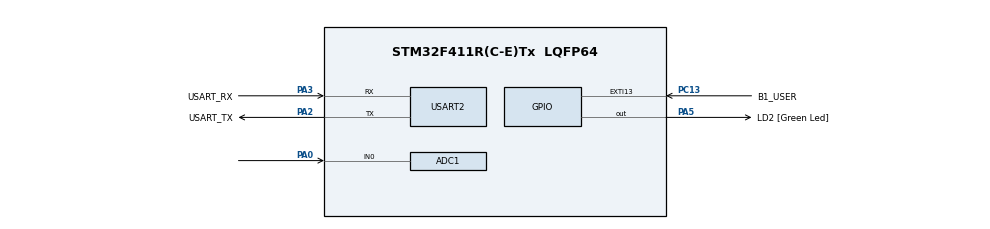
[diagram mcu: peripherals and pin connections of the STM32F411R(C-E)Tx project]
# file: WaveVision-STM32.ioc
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ADC1.Channel-0\#ChannelRegularConversion=ADC_CHANNEL_0
ADC1.ContinuousConvMode=DISABLE
ADC1.DMAContinuousRequests=ENABLE
ADC1.ExternalTrigConv=ADC_EXTERNALTRIGCONV_T2_TRGO
ADC1.NbrOfConversionFlag=1
ADC1.Rank-0\#ChannelRegularConversion=1
ADC1.SamplingTime-0\#ChannelRegularConversion=ADC_SAMPLETIME_3CYCLES
ADC1.master=1
Dma.ADC1.0.Direction=DMA_PERIPH_TO_MEMORY
Dma.ADC1.0.FIFOMode=DMA_FIFOMODE_DISABLE
Dma.ADC1.0.Instance=DMA2_Stream0
Dma.ADC1.0.MemDataAlignment=DMA_MDATAALIGN_HALFWORD
Dma.ADC1.0.MemInc=DMA_MINC_ENABLE
Dma.ADC1.0.Mode=DMA_CIRCULAR
Dma.ADC1.0.PeriphDataAlignment=DMA_PDATAALIGN_HALFWORD
Dma.ADC1.0.PeriphInc=DMA_PINC_DISABLE
Dma.ADC1.0.Priority=DMA_PRIORITY_LOW
Dma.Request0=ADC1
Mcu.Family=STM32F4
Mcu.Name=STM32F411R(C-E)Tx
Mcu.Package=LQFP64
NVIC.DMA2_Stream0_IRQn=true\:0\:0\:false\:false\:true\:false\:true\:true
NVIC.EXTI15_10_IRQn=true\:0\:0\:false\:false\:true\:true\:true\:true
NVIC.PriorityGroup=NVIC_PRIORITYGROUP_0
NVIC.TIM2_IRQn=true\:0\:0\:false\:false\:true\:true\:true\:true
PA0-WKUP.Signal=ADCx_IN0
PA13.GPIO_Label=TMS
PA13.Mode=Serial_Wire
PA13.Signal=SYS_JTMS-SWDIO
PA14.GPIO_Label=TCK
PA14.Mode=Serial_Wire
PA14.Signal=SYS_JTCK-SWCLK
PA2.GPIO_Label=USART_TX
PA2.Mode=Asynchronous
PA2.Signal=USART2_TX
PA3.GPIO_Label=USART_RX
PA3.Mode=Asynchronous
PA3.Signal=USART2_RX
PA5.GPIO_Label=LD2 [Green Led]
PA5.Signal=GPIO_Output
PB3.GPIO_Label=SWO
PB3.Signal=SYS_JTDO-SWO
PC13-ANTI_TAMP.GPIO_Label=B1_USER
PC13-ANTI_TAMP.Signal=GPXTI13
PC14-OSC32_IN.Mode=LSE-External-Oscillator
PC14-OSC32_IN.Signal=RCC_OSC32_IN
PC15-OSC32_OUT.Mode=LSE-External-Oscillator
PC15-OSC32_OUT.Signal=RCC_OSC32_OUT
PH0\ -\ OSC_IN.Mode=HSE-External-Clock-Source
PH0\ -\ OSC_IN.Signal=RCC_OSC_IN
PH1\ -\ OSC_OUT.Mode=HSE-External-Clock-Source
PH1\ -\ OSC_OUT.Signal=RCC_OSC_OUT
ProjectManager.HeapSize=0x200
ProjectManager.StackSize=0x400
ProjectManager.TargetToolchain=CMake
RCC.48MHZClocksFreq_Value=84000000
RCC.AHBFreq_Value=16000000
RCC.APB1CLKDivider=RCC_HCLK_DIV2
RCC.APB1Freq_Value=8000000
RCC.APB1TimFreq_Value=16000000
RCC.APB2Freq_Value=16000000
RCC.APB2TimFreq_Value=16000000
RCC.CortexFreq_Value=16000000
RCC.FLatency-AdvancedSettings=FLASH_LATENCY_0
RCC.HCLKFreq_Value=16000000
RCC.HSE_VALUE=8000000
RCC.HSI_VALUE=16000000
RCC.PLLN=336
RCC.PLLP=RCC_PLLP_DIV4
RCC.SYSCLKFreq_VALUE=16000000
RCC.VCOOutputFreq_Value=336000000
SH.ADCx_IN0.0=ADC1_IN0,IN0
TIM2.AutoReloadPreload=TIM_AUTORELOAD_PRELOAD_ENABLE
TIM2.Period=9999
TIM2.Prescaler=0
TIM2.TIM_MasterOutputTrigger=TIM_TRGO_UPDATE
USART2.VirtualMode=VM_ASYNC
VP_TIM2_VS_ClockSourceINT.Mode=Internal
board=NUCLEO-F411RE

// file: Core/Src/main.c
/* USER CODE BEGIN Header */
/**
  ******************************************************************************
  * @file           : main.c
  * @brief          : Main program body
  ******************************************************************************
  */
/* USER CODE END Header */

#include "main.h"
#include "adc.h"
#include "dma.h"
#include "tim.h"
#include "usart.h"
#include "gpio.h"

/* USER CODE BEGIN Includes */
#include "audio_engine.h"
/* USER CODE END Includes */

/* USER CODE BEGIN PD */
#define AUDIO_BUF_SIZE 2048
#define HALF_BUF_SIZE (AUDIO_BUF_SIZE / 2)
/* USER CODE END PD */

/* USER CODE BEGIN PV */
uint16_t adc_buffer[AUDIO_BUF_SIZE];
volatile uint8_t data_ready = 0;
volatile uint16_t current_amp = 0;
/* USER CODE END PV */

void SystemClock_Config(void);

int main(void)
{

    /* MCU Configuration--------------------------------------------------------*/
    HAL_Init();

    /* Configure the system clock */
    SystemClock_Config();

    /* Initialize all configured peripherals */
    MX_GPIO_Init();
    MX_DMA_Init();
    MX_USART2_UART_Init();
    MX_TIM2_Init();
    MX_ADC1_Init();

    /* USER CODE BEGIN 2 */
    AudioEngine_Init();
    HAL_ADC_Start_DMA(&hadc1, (uint32_t*)adc_buffer, AUDIO_BUF_SIZE);
    HAL_TIM_Base_Start_IT(&htim2);
    /* USER CODE END 2 */

    /* Infinite loop */
    /* USER CODE BEGIN WHILE */
    while (1)
    {

        if (data_ready)
        {
            AudioEngine_TransmitPacket(MSG_TYPE_AMPLITUDE, (uint8_t*)&current_amp, sizeof(current_amp));
            HAL_GPIO_TogglePin(LD2_GPIO_Port, LD2_Pin);
            data_ready = 0;
        }

        /* USER CODE END WHILE */

    }
}

void SystemClock_Config(void)
{
    // ... (Twoja konfiguracja zegara zostaje tutaj bez zmian) ...
}

/* USER CODE BEGIN 4 */
void HAL_ADC_ConvHalfCpltCallback(ADC_HandleTypeDef* hadc)
{
    if (hadc->Instance == ADC1)
    {
        current_amp = AudioEngine_CalculateAmplitude(&adc_buffer[0], HALF_BUF_SIZE);
        data_ready = 1;
    }
}

void HAL_ADC_ConvCpltCallback(ADC_HandleTypeDef* hadc)
{
    if (hadc->Instance == ADC1)
    {
        current_amp = AudioEngine_CalculateAmplitude(&adc_buffer[HALF_BUF_SIZE], HALF_BUF_SIZE);
        data_ready = 1;
    }
}

/* USER CODE END 4 */

void Error_Handler(void)
{
    __disable_irq();
    while (1)
    {
    }
}
